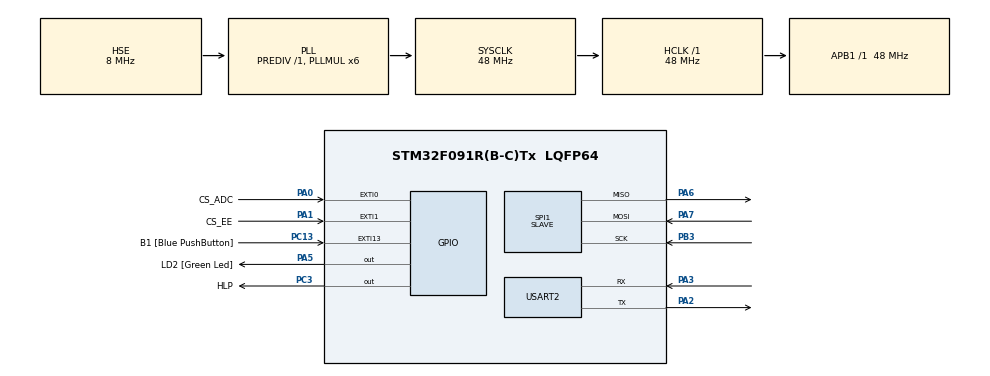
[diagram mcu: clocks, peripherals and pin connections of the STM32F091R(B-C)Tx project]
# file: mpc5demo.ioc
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Mcu.Family=STM32F0
Mcu.Name=STM32F091R(B-C)Tx
Mcu.Package=LQFP64
NVIC.EXTI0_1_IRQn=true\:0\:0\:false\:false\:true\:true\:true\:true
NVIC.SPI1_IRQn=true\:0\:0\:false\:false\:true\:true\:true\:true
PA0.GPIO_Label=CS_ADC
PA0.GPIO_ModeDefaultEXTI=GPIO_MODE_IT_RISING_FALLING
PA0.GPIO_PuPd=GPIO_PULLUP
PA0.Signal=GPXTI0
PA1.GPIO_Label=CS_EE
PA1.GPIO_ModeDefaultEXTI=GPIO_MODE_IT_RISING_FALLING
PA1.GPIO_PuPd=GPIO_PULLUP
PA1.Signal=GPXTI1
PA13.GPIO_Label=TMS
PA13.Mode=Serial_Wire
PA13.Signal=SYS_SWDIO
PA14.GPIO_Label=TCK
PA14.Mode=Serial_Wire
PA14.Signal=SYS_SWCLK
PA2.Mode=Asynchronous
PA2.Signal=USART2_TX
PA3.Mode=Asynchronous
PA3.Signal=USART2_RX
PA5.GPIO_Label=LD2 [Green Led]
PA5.GPIO_Mode=GPIO_MODE_OUTPUT_PP
PA5.GPIO_PuPd=GPIO_NOPULL
PA5.GPIO_Speed=GPIO_SPEED_FREQ_LOW
PA5.Signal=GPIO_Output
PA6.Mode=Full_Duplex_Slave
PA6.Signal=SPI1_MISO
PA7.Mode=Full_Duplex_Slave
PA7.Signal=SPI1_MOSI
PB3.Mode=Full_Duplex_Slave
PB3.Signal=SPI1_SCK
PC13.GPIO_Label=B1 [Blue PushButton]
PC13.GPIO_ModeDefaultEXTI=GPIO_MODE_IT_FALLING
PC13.Signal=GPXTI13
PC14OSC32_IN.Mode=LSE-External-Oscillator
PC14OSC32_IN.Signal=RCC_OSC32_IN
PC15OSC32_OUT.Mode=LSE-External-Oscillator
PC15OSC32_OUT.Signal=RCC_OSC32_OUT
PC3.GPIO_Label=HLP
PC3.GPIO_PuPd=GPIO_NOPULL
PC3.PinState=GPIO_PIN_RESET
PC3.Signal=GPIO_Output
PF0-OSC_IN.Mode=HSE-External-Clock-Source
PF0-OSC_IN.Signal=RCC_OSC_IN
ProjectManager.HeapSize=0x200
ProjectManager.StackSize=0x400
ProjectManager.TargetToolchain=STM32CubeIDE
RCC.AHBFreq_Value=48000000
RCC.APB1Freq_Value=48000000
RCC.APB1TimFreq_Value=48000000
RCC.FLatency-AdvancedSettings=FLASH_LATENCY_1
RCC.HCLKFreq_Value=48000000
RCC.PLLMUL=RCC_PLL_MUL6
RCC.PLLSourceVirtual=RCC_PLLSOURCE_HSE
RCC.PREFETCH_ENABLE-AdvancedSettings=1
RCC.SYSCLKFreq_VALUE=48000000
RCC.SYSCLKSource=RCC_SYSCLKSOURCE_PLLCLK
SPI1.CLKPhase=SPI_PHASE_2EDGE
SPI1.CLKPolarity=SPI_POLARITY_HIGH
SPI1.DataSize=SPI_DATASIZE_8BIT
SPI1.Direction=SPI_DIRECTION_2LINES
SPI1.Mode=SPI_MODE_SLAVE
SPI1.VirtualType=VM_SLAVE
USART2.VirtualMode-Asynchronous=VM_ASYNC
board=NUCLEO-F091RC

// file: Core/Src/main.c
/* USER CODE BEGIN Header */
/**
  ******************************************************************************
  * @file           : main.c
  * @brief          : Main program body
  ******************************************************************************
  * @attention
  *
  * Copyright (c) 2026 STMicroelectronics.
  * All rights reserved.
  *
  ******************************************************************************
  */
/* USER CODE END Header */

#include "main.h"
#include "spi.h"
#include "usart.h"
#include "gpio.h"

/* USER CODE BEGIN Includes */

#include "CircularBuffer.h"
#include "ad7794_emu.h"
#include "ee_emul.h"

/* USER CODE END Includes */

/* USER CODE BEGIN PD */

#define SEND_CHAR_USART2(c)             \
    do                                  \
    {                                   \
        while (!LL_USART_IsActiveFlag_TXE(USART2)) \
        {                               \
        }                               \
        LL_USART_TransmitData8(USART2, (c)); \
    } while (0)

/* USER CODE END PD */

/* USER CODE BEGIN PV */

volatile ActiveDevice_t active_device = DEV_IDLE;

/* USER CODE END PV */

/* Private function prototypes ----------------------------------------------- */

void SystemClock_Config(void);

/* USER CODE BEGIN 0 */

/*
 * ============================================================================
 * SPI byte processing
 * ============================================================================
 *
 * Called after one complete SPI byte has been received.
 *
 * The return value is the byte which must be transmitted during the
 * NEXT SPI transfer.
 *
 * ============================================================================
 */

uint8_t mpc5_update_spi(uint8_t data)
{
    if (!LL_GPIO_IsInputPinSet(CS_ADC_GPIO_Port, CS_ADC_Pin))
    {
        cb_push('A');
        cb_push(data);

        if (active_device != DEV_ADC_ACTIVE)
        {
            active_device = DEV_ADC_ACTIVE;
        }

        return 0xFF;
    }

    return 0xFF;
}

/* USER CODE END 0 */

int main(void)
{
    /* USER CODE BEGIN 1 */

    uint8_t cb;

    /* USER CODE END 1 */

    /*
     * MCU Configuration
     */

    HAL_Init();

    /*
     * Configure the system clock.
     */

    SystemClock_Config();

    /*
     * Initialize all configured peripherals.
     */

    MX_GPIO_Init();
    MX_SPI1_Init();
    MX_USART2_UART_Init();

    /* USER CODE BEGIN 2 */

    AD7794_Emu_Init();
    EE_Emul_Init();

    LL_GPIO_SetOutputPin(HLP_GPIO_Port, HLP_Pin);

    LL_SPI_Enable(SPI1);

    if (LL_SPI_IsActiveFlag_TXE(SPI1))
    {
        LL_SPI_TransmitData8(SPI1, 0xFF);
    }

    LL_SPI_EnableIT_RXNE(SPI1);
    /* USER CODE END 2 */

    /*
     * Infinite loop
     */

    while (1)
    {
        /*
         * ADC background processing.
         */
        AD7794_Emu_Process();

        /*
         * EEPROM currently has no background processing,
         * but keeping the call makes the architecture consistent.
         */
        //EE_Emul_Process();

        /*
         * Send debug data through USART2.
         */
        if (cb_pop(&cb))
        {
            LL_GPIO_TogglePin(HLP_GPIO_Port, HLP_Pin);
            LL_GPIO_TogglePin(LD2_GPIO_Port, LD2_Pin);
            SEND_CHAR_USART2(cb);
        }
    }
}

void SystemClock_Config(void)
{
    RCC_OscInitTypeDef RCC_OscInitStruct = {0};
    RCC_ClkInitTypeDef RCC_ClkInitStruct = {0};
    RCC_PeriphCLKInitTypeDef PeriphClkInit = {0};

    /*
     * Initializes the RCC Oscillators.
     */

    RCC_OscInitStruct.OscillatorType =
        RCC_OSCILLATORTYPE_HSE;

    RCC_OscInitStruct.HSEState =
        RCC_HSE_BYPASS;

    RCC_OscInitStruct.PLL.PLLState =
        RCC_PLL_ON;

    RCC_OscInitStruct.PLL.PLLSource =
        RCC_PLLSOURCE_HSE;

    RCC_OscInitStruct.PLL.PLLMUL =
        RCC_PLL_MUL6;

    RCC_OscInitStruct.PLL.PREDIV =
        RCC_PREDIV_DIV1;

    if (HAL_RCC_OscConfig(&RCC_OscInitStruct) != HAL_OK)
    {
        Error_Handler();
    }

    /*
     * Initializes the CPU, AHB and APB buses clocks.
     */

    RCC_ClkInitStruct.ClockType =
        RCC_CLOCKTYPE_HCLK |
        RCC_CLOCKTYPE_SYSCLK |
        RCC_CLOCKTYPE_PCLK1;

    RCC_ClkInitStruct.SYSCLKSource =
        RCC_SYSCLKSOURCE_PLLCLK;

    RCC_ClkInitStruct.AHBCLKDivider =
        RCC_SYSCLK_DIV1;

    RCC_ClkInitStruct.APB1CLKDivider =
        RCC_HCLK_DIV1;

    if (HAL_RCC_ClockConfig(&RCC_ClkInitStruct,
                            FLASH_LATENCY_1) != HAL_OK)
    {
        Error_Handler();
    }

    PeriphClkInit.PeriphClockSelection =
        RCC_PERIPHCLK_USART2;

    PeriphClkInit.Usart2ClockSelection =
        RCC_USART2CLKSOURCE_PCLK1;

    if (HAL_RCCEx_PeriphCLKConfig(&PeriphClkInit) != HAL_OK)
    {
        Error_Handler();
    }
}

void Error_Handler(void)
{
    __disable_irq();

    while (1)
    {
    }
}
